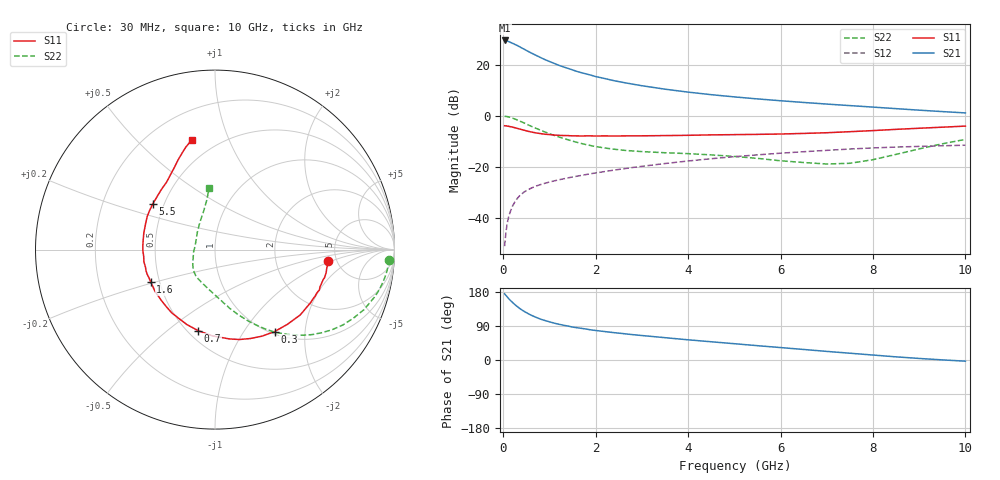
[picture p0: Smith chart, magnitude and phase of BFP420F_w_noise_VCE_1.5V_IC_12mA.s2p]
! (c) 2011  Infineon Technologies AG, Munich
! Infineon Technologies  Discrete & RF Semiconductors
! BFP420F
! VCE =  1.5 V,  IC =  12 mA
! Common Emitter S-Parameters:  Sep 2011
# GHz  S  MA  R  50
!  f  S11  S21  S12  S22
! GHz  MAG  ANG  MAG  ANG  MAG  ANG  MAG  ANG
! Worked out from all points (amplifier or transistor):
!   54 points, 30 MHz to 10 GHz, reference 50 ohm
!   highest |S21| = 29.4 dB at 30 MHz (marker M1)
!   |S21| within 3 dB of that: start of sweep to 408.4 MHz
!   unconditionally stable (mu >= 1): 1.916 GHz to end of sweep
!   at 120 MHz: K = 0.18, MSG = 34.2 dB, |S12| = -39.3 dB
!   at 1.3 GHz: K = 0.81, MSG = 21.9 dB, |S12| = -24.7 dB
!   at 10 GHz: K = 1.26, MAG = 3.2 dB, |S12| = -11.6 dB
!   lowest NFmin = 1.26 dB at 450 MHz
!   S11 on the Smith chart (normalised r, x): 30 MHz: 4.28, -0.89; 300 MHz: 1.04, -1.39; 700 MHz: 0.56, -0.64; 1.6 GHz: 0.45, -0.19; 5.5 GHz: 0.43, +0.27; 10 GHz: 0.37, +0.74
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0.03  0.6344 -5.6  29.54 174.8  0.0028 88.5  0.9703 -3.3
0.05  0.6311 -9.5  29.18 171.4  0.0043 88.3  0.9681 -5.7
0.07  0.6302 -14.3  29.12 169.1  0.0061 85.9  0.9625 -8.1
0.1  0.6206 -19.5  28.62 164.5  0.0089 82.0  0.951 -11.5
0.15  0.6096 -28.8  27.28 157.8  0.013 78.6  0.9256 -16.8
0.25  0.5799 -45.8  24.75 146.4  0.0204 71.8  0.8603 -26.4
0.3  0.5646 -54.0  23.63 141.4  0.0238 69.4  0.8263 -30.6
0.4  0.5332 -68.3  21.1 132.4  0.0294 64.8  0.7538 -37.9
0.5  0.5043 -80.8  18.89 125.0  0.0341 61.4  0.6856 -44.1
0.6  0.4802 -92.0  16.9 118.5  0.038 58.8  0.6229 -49.4
0.7  0.4609 -101.9  15.27 113.1  0.0416 57.1  0.5705 -53.9
0.9  0.4329 -118.0  12.5 104.3  0.0475 54.9  0.4797 -61.3
1.1  0.4177 -130.8  10.54 97.4  0.0529 53.8  0.4108 -67.6
1.3  0.4082 -141.0  8.989 91.9  0.058 53.4  0.3591 -73.1
1.6  0.4016 -153.3  7.294 85.1  0.0656 53.1  0.3 -81.0
1.7  0.3998 -156.7  6.887 83.4  0.068 53.1  0.2838 -83.4
2.4  0.399 -174.7  4.817 72.1  0.0862 52.4  0.2206 -100.3
3.5  0.4073 166.8  3.293 58.9  0.1157 49.9  0.1882 -119.6
5.5  0.4303 143.4  2.124 37.8  0.171 40.2  0.1461 -148.1
7  0.4632 125.5  1.684 22.7  0.2094 31.2  0.1133 171.8
8.5  0.5394 112.5  1.37 8.3  0.2428 20.9  0.1747 118.7
10  0.6243 102.0  1.131 -3.1  0.2643 12.0  0.3429 95.5
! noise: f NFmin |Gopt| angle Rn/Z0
0.45  1.26  0.03  161  0.12
0.9  1.26  0.06  135  0.14
1.9  1.4  0.17  170  0.18
2.4  1.46  0.17  173  0.12
3.5  1.72  0.22  -173  0.16
